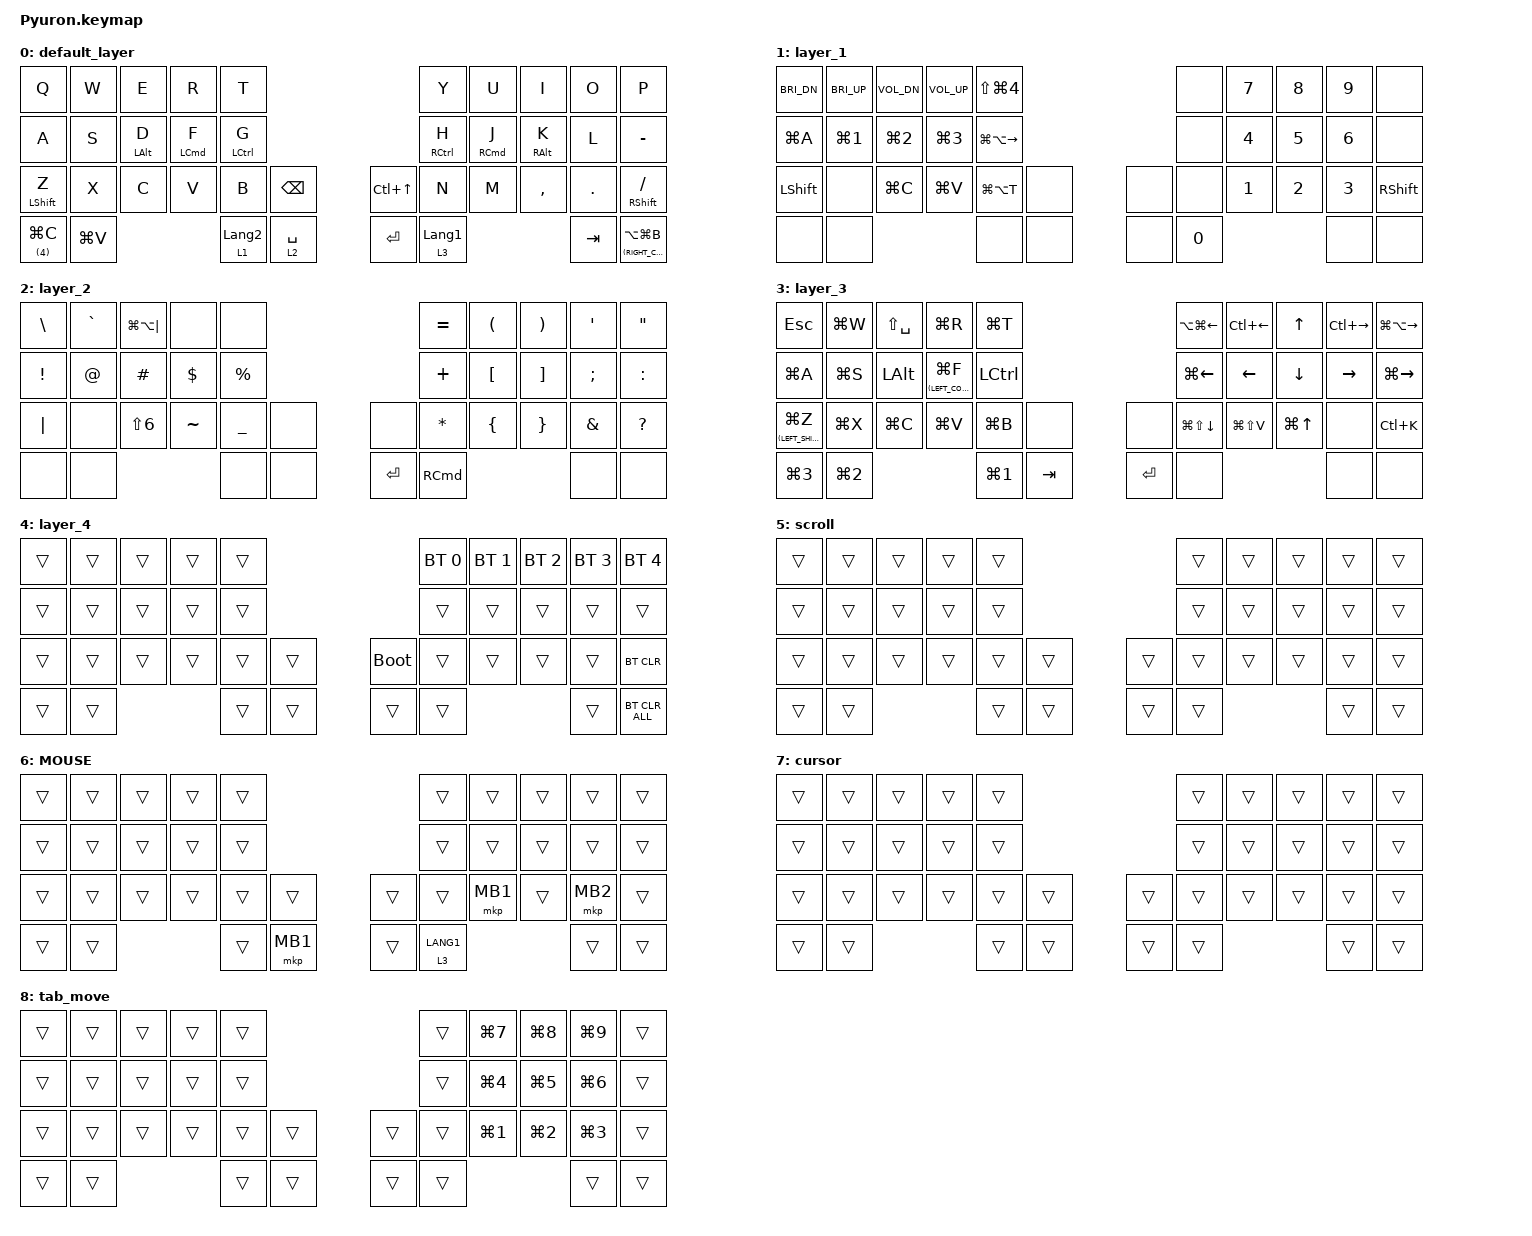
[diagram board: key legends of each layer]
#include <behaviors.dtsi>
#include <dt-bindings/zmk/bt.h>
#include <dt-bindings/zmk/keys.h>
#include <dt-bindings/zmk/pointing.h>

#define MOUSE 6

&mt {
    flavor = "balanced";
    quick-tap-ms = <0>;
};

/ {
    combos {
        compatible = "zmk,combos";

        right-scroll {
            bindings = <&tog 5>;
            key-positions = <17 18>;
        };

        left-cursol {
            bindings = <&tog 7>;
            key-positions = <>;
        };

        tab {
            bindings = <&kp TAB>;
            key-positions = <29 30>;
        };

        command-enter {
            bindings = <&kp LG(ENTER)>;
            key-positions = <23 24>;
        };
    };

    macros {
        to_layer_0: to_layer_0 {
            compatible = "zmk,behavior-macro-one-param";
            #binding-cells = <1>;
            bindings = <&to 0 &macro_param_1to1 &kp MACRO_PLACEHOLDER>;
            label = "TO_LAYER_0";
        };
    };

    lt_to_layer_0: lt_to_layer_0 {
        compatible = "zmk,behavior-hold-tap";
        label = "LAYER_TAP_TO_0";
        bindings = <&mo>, <&to_layer_0>;

        #binding-cells = <2>;
        tapping-term-ms = <200>;
    };
};

/ {
    behaviors {
    };

    keymap {
        compatible = "zmk,keymap";

        default_layer {
            bindings = <
&kp Q             &kp W                  &kp E           &kp R               &kp T               &kp Y                &kp U                &kp I             &kp O    &kp P
&kp A             &kp S                  &mt LEFT_ALT D  &mt LEFT_COMMAND F  &mt LEFT_CONTROL G  &mt RIGHT_CONTROL H  &mt RIGHT_COMMAND J  &mt RIGHT_ALT K   &kp L    &kp MINUS
&mt LEFT_SHIFT Z  &kp X                  &kp C           &kp V               &kp B               &kp BACKSPACE        &kp LC(UP_ARROW)     &kp N             &kp M    &kp COMMA
&kp DOT           &mt RIGHT_SHIFT SLASH  &lt (4) LG(C)   &kp LG(V)           &lt 1 LANGUAGE_2    &lt 2 SPACE          &kp ENTER            &lt 3 LANGUAGE_1  &kp TAB  &mt (RIGHT_CONTROL) LA(LG(B))
            >;
        };

        layer_1 {
            bindings = <
&kp C_BRI_DN    &kp C_BRI_UP      &kp C_VOL_DN      &kp C_VOL_UP      &kp LS(LG(NUMBER_4))  &none  &kp NUMBER_7  &kp NUMBER_8  &kp NUMBER_9  &none
&kp LG(A)       &kp LG(NUMBER_1)  &kp LG(NUMBER_2)  &kp LG(NUMBER_3)  &kp LG(LA(RIGHT))     &none  &kp NUMBER_4  &kp NUMBER_5  &kp NUMBER_6  &none
&kp LEFT_SHIFT  &none             &kp LG(C)         &kp LG(V)         &kp LG(LA(T))         &none  &none         &none         &kp NUMBER_1  &kp NUMBER_2
&kp NUMBER_3    &kp RIGHT_SHIFT   &none             &none             &none                 &none  &none         &kp NUMBER_0  &none         &none
            >;
        };

        layer_2 {
            bindings = <
&kp BSLH         &kp GRAVE     &kp LG(LA(PIPE))  &none       &none           &kp EQUAL  &kp LEFT_PARENTHESIS  &kp RIGHT_PARENTHESIS  &kp SQT         &kp DOUBLE_QUOTES
&kp EXCLAMATION  &kp AT_SIGN   &kp HASH          &kp DOLLAR  &kp PERCENT     &kp PLUS   &kp LEFT_BRACKET      &kp RIGHT_BRACKET      &kp SEMICOLON   &kp COLON
&kp PIPE         &none         &kp LS(NUMBER_6)  &kp TILDE   &kp UNDERSCORE  &none      &none                 &kp ASTERISK           &kp LEFT_BRACE  &kp RIGHT_BRACE
&kp AMPERSAND    &kp QUESTION  &none             &none       &none           &none      &kp ENTER             &kp RIGHT_COMMAND      &none           &none
            >;
        };

        layer_3 {
            bindings = <
&kp ESCAPE              &kp LG(W)  &kp LS(SPACE)     &kp LG(R)                 &kp LG(T)         &kp LA(LG(LEFT))  &kp LC(LEFT)  &kp UP_ARROW      &kp LC(RIGHT)  &kp LG(LA(RIGHT))
&kp LG(A)               &kp LG(S)  &kp LEFT_ALT      &mt (LEFT_COMMAND) LG(F)  &kp LEFT_CONTROL  &kp LG(LEFT)      &kp LEFT      &kp DOWN          &kp RIGHT      &kp LG(RIGHT)
&mt (LEFT_SHIFT) LG(Z)  &kp LG(X)  &kp LG(C)         &kp LG(V)                 &kp LG(B)         &none             &none         &kp LG(LS(DOWN))  &kp LG(LS(V))  &kp LG(UP_ARROW)
&none                   &kp LC(K)  &kp LG(NUMBER_3)  &kp LG(NUMBER_2)          &kp LG(NUMBER_1)  &kp TAB           &kp ENTER     &none             &none          &none
            >;
        };

        layer_4 {
            bindings = <
&trans  &trans      &trans  &trans  &trans  &bt BT_SEL 0  &bt BT_SEL 1  &bt BT_SEL 2  &bt BT_SEL 3  &bt BT_SEL 4
&trans  &trans      &trans  &trans  &trans  &trans        &trans        &trans        &trans        &trans
&trans  &trans      &trans  &trans  &trans  &trans        &bootloader   &trans        &trans        &trans
&trans  &bt BT_CLR  &trans  &trans  &trans  &trans        &trans        &trans        &trans        &bt BT_CLR_ALL
            >;
        };

        scroll {
            bindings = <
&trans  &trans  &trans  &trans  &trans  &trans  &trans  &trans  &trans  &trans
&trans  &trans  &trans  &trans  &trans  &trans  &trans  &trans  &trans  &trans
&trans  &trans  &trans  &trans  &trans  &trans  &trans  &trans  &trans  &trans
&trans  &trans  &trans  &trans  &trans  &trans  &trans  &trans  &trans  &trans
            >;
        };

        MOUSE {
            bindings = <
&trans    &trans  &trans  &trans  &trans  &trans    &trans  &trans                  &trans    &trans
&trans    &trans  &trans  &trans  &trans  &trans    &trans  &trans                  &trans    &trans
&trans    &trans  &trans  &trans  &trans  &trans    &trans  &trans                  &mkp MB1  &trans
&mkp MB2  &trans  &trans  &trans  &trans  &mkp MB1  &trans  &lt_to_layer_0 3 LANG1  &trans    &trans
            >;
        };

        cursor {
            bindings = <
&trans  &trans  &trans  &trans  &trans  &trans  &trans  &trans  &trans  &trans
&trans  &trans  &trans  &trans  &trans  &trans  &trans  &trans  &trans  &trans
&trans  &trans  &trans  &trans  &trans  &trans  &trans  &trans  &trans  &trans
&trans  &trans  &trans  &trans  &trans  &trans  &trans  &trans  &trans  &trans
            >;
        };

        tab_move {
            bindings = <
&trans            &trans  &trans  &trans  &trans  &trans  &kp LG(NUMBER_7)  &kp LG(NUMBER_8)  &kp LG(NUMBER_9)  &trans
&trans            &trans  &trans  &trans  &trans  &trans  &kp LG(NUMBER_4)  &kp LG(NUMBER_5)  &kp LG(NUMBER_6)  &trans
&trans            &trans  &trans  &trans  &trans  &trans  &trans            &trans            &kp LG(NUMBER_1)  &kp LG(NUMBER_2)
&kp LG(NUMBER_3)  &trans  &trans  &trans  &trans  &trans  &trans            &trans            &trans            &trans
            >;
        };
    };
};
